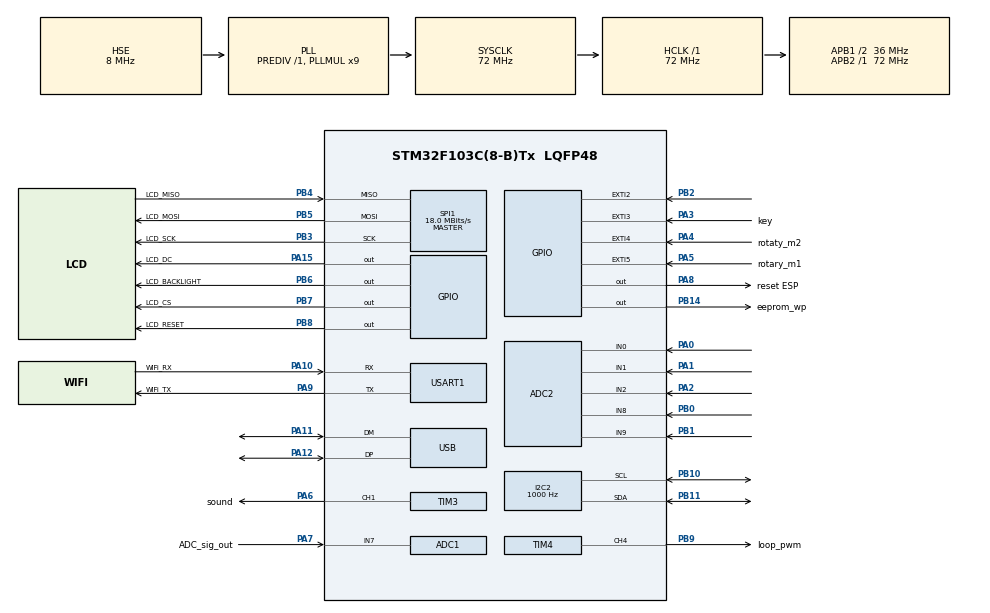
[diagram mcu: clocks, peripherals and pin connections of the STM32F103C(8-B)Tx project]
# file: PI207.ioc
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ADC1.Channel-0\#ChannelRegularConversion=ADC_CHANNEL_7
ADC1.ContinuousConvMode=DISABLE
ADC1.ExternalTrigConv=ADC_EXTERNALTRIGCONV_T1_CC1
ADC1.Mode=__NULL
ADC1.NbrOfConversion=1
ADC1.NbrOfConversionFlag=1
ADC1.Rank-0\#ChannelRegularConversion=1
ADC1.SamplingTime-0\#ChannelRegularConversion=ADC_SAMPLETIME_239CYCLES_5
ADC1.master=1
ADC2.Channel-0\#ChannelRegularConversion=ADC_CHANNEL_0
ADC2.Channel-1\#ChannelRegularConversion=ADC_CHANNEL_1
ADC2.Channel-2\#ChannelRegularConversion=ADC_CHANNEL_2
ADC2.Channel-3\#ChannelRegularConversion=ADC_CHANNEL_8
ADC2.Channel-4\#ChannelRegularConversion=ADC_CHANNEL_9
ADC2.ContinuousConvMode=ENABLE
ADC2.NbrOfConversion=5
ADC2.NbrOfConversionFlag=1
ADC2.Rank-0\#ChannelRegularConversion=1
ADC2.Rank-1\#ChannelRegularConversion=2
ADC2.Rank-2\#ChannelRegularConversion=3
ADC2.Rank-3\#ChannelRegularConversion=4
ADC2.Rank-4\#ChannelRegularConversion=5
ADC2.SamplingTime-0\#ChannelRegularConversion=ADC_SAMPLETIME_239CYCLES_5
ADC2.SamplingTime-1\#ChannelRegularConversion=ADC_SAMPLETIME_239CYCLES_5
ADC2.SamplingTime-2\#ChannelRegularConversion=ADC_SAMPLETIME_239CYCLES_5
ADC2.SamplingTime-3\#ChannelRegularConversion=ADC_SAMPLETIME_239CYCLES_5
ADC2.SamplingTime-4\#ChannelRegularConversion=ADC_SAMPLETIME_239CYCLES_5
Dma.ADC1.0.Direction=DMA_PERIPH_TO_MEMORY
Dma.ADC1.0.Instance=DMA1_Channel1
Dma.ADC1.0.MemDataAlignment=DMA_MDATAALIGN_WORD
Dma.ADC1.0.MemInc=DMA_MINC_ENABLE
Dma.ADC1.0.Mode=DMA_CIRCULAR
Dma.ADC1.0.PeriphDataAlignment=DMA_PDATAALIGN_WORD
Dma.ADC1.0.PeriphInc=DMA_PINC_DISABLE
Dma.ADC1.0.Priority=DMA_PRIORITY_HIGH
Dma.Request0=ADC1
I2C2.ClockSpeed=1000
IWDG.Prescaler=IWDG_PRESCALER_32
Mcu.Family=STM32F1
Mcu.Name=STM32F103C(8-B)Tx
Mcu.Package=LQFP48
NVIC.DMA1_Channel1_IRQn=true\:2\:0\:true\:false\:true\:false\:true
NVIC.EXTI2_IRQn=true\:3\:0\:true\:false\:true\:true\:true
NVIC.EXTI3_IRQn=true\:3\:0\:true\:false\:true\:true\:true
NVIC.EXTI4_IRQn=true\:3\:0\:true\:false\:true\:true\:true
NVIC.EXTI9_5_IRQn=true\:3\:0\:true\:false\:true\:true\:true
NVIC.PriorityGroup=NVIC_PRIORITYGROUP_4
NVIC.TIM1_UP_IRQn=true\:1\:0\:true\:false\:true\:true\:true
NVIC.TIM2_IRQn=true\:4\:0\:true\:false\:true\:true\:true
NVIC.TIM4_IRQn=true\:1\:0\:true\:false\:true\:true\:true
NVIC.USART1_IRQn=true\:5\:0\:true\:false\:true\:true\:true
PA0-WKUP.Signal=ADCx_IN0
PA1.Signal=ADCx_IN1
PA10.GPIO_Label=WiFi_RX
PA10.Mode=Asynchronous
PA10.Signal=USART1_RX
PA11.Mode=Device
PA11.Signal=USB_DM
PA12.Mode=Device
PA12.Signal=USB_DP
PA13.Mode=Serial_Wire
PA13.Signal=SYS_JTMS-SWDIO
PA14.Mode=Serial_Wire
PA14.Signal=SYS_JTCK-SWCLK
PA15.GPIO_Label=LCD_DC
PA15.Signal=GPIO_Output
PA2.Signal=ADCx_IN2
PA3.GPIO_Label=key
PA3.GPIO_ModeDefaultEXTI=GPIO_MODE_IT_FALLING
PA3.Signal=GPXTI3
PA4.GPIO_Label=rotaty_m2
PA4.GPIO_ModeDefaultEXTI=GPIO_MODE_IT_FALLING
PA4.Signal=GPXTI4
PA5.GPIO_Label=rotary_m1
PA5.GPIO_ModeDefaultEXTI=GPIO_MODE_IT_FALLING
PA5.Signal=GPXTI5
PA6.GPIO_Label=sound
PA6.Signal=S_TIM3_CH1
PA7.GPIO_Label=ADC_sig_out
PA7.Signal=ADCx_IN7
PA8.GPIO_Label=reset ESP
PA8.Signal=GPIO_Output
PA9.GPIO_Label=WiFi_TX
PA9.Mode=Asynchronous
PA9.Signal=USART1_TX
PB0.Signal=ADCx_IN8
PB1.Signal=ADCx_IN9
PB10.Mode=I2C
PB10.Signal=I2C2_SCL
PB11.Mode=I2C
PB11.Signal=I2C2_SDA
PB14.GPIO_Label=eeprom_wp
PB14.Signal=GPIO_Output
PB2.GPIO_ModeDefaultEXTI=GPIO_MODE_IT_FALLING
PB2.Signal=GPXTI2
PB3.GPIO_Label=LCD_SCK
PB3.Mode=Full_Duplex_Master
PB3.Signal=SPI1_SCK
PB4.GPIO_Label=LCD_MISO
PB4.Mode=Full_Duplex_Master
PB4.Signal=SPI1_MISO
PB5.GPIO_Label=LCD_MOSI
PB5.Mode=Full_Duplex_Master
PB5.Signal=SPI1_MOSI
PB6.GPIO_Label=LCD_BACKLIGHT
PB6.Signal=GPIO_Output
PB7.GPIO_Label=LCD_CS
PB7.GPIO_ModeDefaultOutputPP=GPIO_MODE_OUTPUT_OD
PB7.GPIO_PuPd=GPIO_PULLUP
PB7.PinState=GPIO_PIN_SET
PB7.Signal=GPIO_Output
PB8.GPIO_Label=LCD_RESET
PB8.Signal=GPIO_Output
PB9.GPIO_Label=loop_pwm
PB9.Signal=S_TIM4_CH4
PD0-OSC_IN.Mode=HSE-External-Oscillator
PD0-OSC_IN.Signal=RCC_OSC_IN
PD1-OSC_OUT.Mode=HSE-External-Oscillator
PD1-OSC_OUT.Signal=RCC_OSC_OUT
ProjectManager.HeapSize=0x200
ProjectManager.StackSize=0x400
ProjectManager.TargetToolchain=MDK-ARM V5.32
RCC.ADCPresc=RCC_ADCPCLK2_DIV6
RCC.AHBFreq_Value=72000000
RCC.APB1CLKDivider=RCC_HCLK_DIV2
RCC.APB1Freq_Value=36000000
RCC.APB1TimFreq_Value=72000000
RCC.APB2Freq_Value=72000000
RCC.APB2TimFreq_Value=72000000
RCC.HCLKFreq_Value=72000000
RCC.PLLMUL=RCC_PLL_MUL9
RCC.SYSCLKFreq_VALUE=72000000
RCC.SYSCLKSource=RCC_SYSCLKSOURCE_PLLCLK
RCC.USBFreq_Value=48000000
RCC.USBPrescaler=RCC_USBCLKSOURCE_PLL_DIV1_5
SH.ADCx_IN0.0=ADC1_IN0
SH.ADCx_IN0.1=ADC2_IN0,IN0
SH.ADCx_IN1.0=ADC1_IN1
SH.ADCx_IN1.1=ADC2_IN1,IN1
SH.ADCx_IN2.0=ADC1_IN2
SH.ADCx_IN2.1=ADC2_IN2,IN2
SH.ADCx_IN7.0=ADC2_IN7
SH.ADCx_IN7.1=ADC1_IN7,IN7
SH.ADCx_IN8.0=ADC1_IN8
SH.ADCx_IN8.1=ADC2_IN8,IN8
SH.ADCx_IN9.0=ADC1_IN9
SH.ADCx_IN9.1=ADC2_IN9,IN9
SH.S_TIM3_CH1.0=TIM3_CH1,PWM Generation1 CH1
SH.S_TIM4_CH4.0=TIM4_CH4,PWM Generation4 CH4
SPI1.BaudRatePrescaler=SPI_BAUDRATEPRESCALER_4
SPI1.CalculateBaudRate=18.0 MBits/s
SPI1.Direction=SPI_DIRECTION_2LINES
SPI1.Mode=SPI_MODE_MASTER
SPI1.VirtualType=VM_MASTER
TIM1.Channel-PWM\ Generation1\ No\ Output=TIM_CHANNEL_1
TIM1.Period=10000
TIM1.Prescaler=72-1
TIM1.Pulse-PWM\ Generation1\ No\ Output=5000
TIM1.TIM_MasterOutputTrigger=TIM_TRGO_RESET
TIM3.Channel-PWM\ Generation1\ CH1=TIM_CHANNEL_1
TIM3.Period=10000
TIM3.Prescaler=10000
TIM4.Channel-PWM\ Generation4\ CH4=TIM_CHANNEL_4
TIM4.Period=310
TIM4.Prescaler=1000
TIM4.Pulse-PWM\ Generation4\ CH4=30
USART1.VirtualMode=VM_ASYNC
VP_IWDG_VS_IWDG.Mode=IWDG_Activate
VP_TIM1_VS_ClockSourceINT.Mode=Internal
VP_TIM1_VS_no_output1.Mode=PWM Generation1 No Output
VP_TIM2_VS_ClockSourceINT.Mode=Internal
VP_TIM3_VS_ClockSourceINT.Mode=Internal
board=custom

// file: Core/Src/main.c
/* USER CODE BEGIN Header */
/**
  ******************************************************************************
  * @file           : main.c
  * @brief          : Main program body
  ******************************************************************************
  * @attention
  *
  * <h2><center>&copy; Copyright (c) 2022 STMicroelectronics.
  * All rights reserved.</center></h2>
  *
  * This software component is licensed by ST under Ultimate Liberty license
  * SLA0044, the "License"; You may not use this file except in compliance with
  * the License. You may obtain a copy of the License at:
  *                             www.st.com/SLA0044
  *
  ******************************************************************************
  */
/* USER CODE END Header */
#include "main.h"

/* USER CODE BEGIN Includes */
#include "ili9341.h"
#include "MyStruct.h"
#include "stdio.h"
#include "string.h"
/* USER CODE END Includes */

/* USER CODE BEGIN PTD */

#define		sampling_number			1000
#define		LCD_WIDTH				320

int16_t Counter;
uint16_t ADC_sampling_step;
uint32_t ADC_read[sampling_number], display[LCD_WIDTH];
uint16_t ADC_trigger = 2500;
uint16_t scaling_factor = 10;
typedef enum
{
		not_ready
	,	ready
}STATUS;

STATUS data_status;
STATUS dma_status;

uint16_t lcd_offset = 100,	lcd_voltdiv = 12;

/* USER CODE END PTD */

ADC_HandleTypeDef hadc1;
ADC_HandleTypeDef hadc2;
DMA_HandleTypeDef hdma_adc1;

I2C_HandleTypeDef hi2c2;

IWDG_HandleTypeDef hiwdg;

SPI_HandleTypeDef hspi1;

TIM_HandleTypeDef htim1;
TIM_HandleTypeDef htim2;
TIM_HandleTypeDef htim3;
TIM_HandleTypeDef htim4;

UART_HandleTypeDef huart1;

PCD_HandleTypeDef hpcd_USB_FS;

void SystemClock_Config(void);
static void MX_GPIO_Init(void);
static void MX_ADC1_Init(void);
static void MX_ADC2_Init(void);
static void MX_I2C2_Init(void);
static void MX_SPI1_Init(void);
static void MX_TIM4_Init(void);
static void MX_USART1_UART_Init(void);
static void MX_DMA_Init(void);
static void MX_USB_PCD_Init(void);
static void MX_IWDG_Init(void);
static void MX_TIM3_Init(void);
static void MX_TIM1_Init(void);
static void MX_TIM2_Init(void);

int main(void)
{
  /* USER CODE BEGIN 1 */
 char W[40];
  /* USER CODE END 1 */

  /* MCU Configuration--------------------------------------------------------*/

  /* Reset of all peripherals, Initializes the Flash interface and the Systick. */
  HAL_Init();

  /* Configure the system clock */
  SystemClock_Config();

  /* Initialize all configured peripherals */
  MX_GPIO_Init();
  MX_DMA_Init();
  MX_ADC1_Init();
  MX_ADC2_Init();
  MX_I2C2_Init();
  MX_SPI1_Init();
  MX_TIM4_Init();
  MX_USART1_UART_Init();

//  MX_USB_PCD_Init();
//  MX_IWDG_Init();
  MX_TIM3_Init();
  MX_TIM1_Init();
  MX_TIM2_Init();
  /* USER CODE BEGIN 2 */
	// HAL_ADCEx_Calibration_Start(&hadc1);
	// HAL_ADCEx_Calibration_Start(&hadc2);

	HAL_ADC_Start_DMA(&hadc1, ADC_read, sampling_number);		// start ADC DMA in circular mode
	HAL_TIM_PWM_Start(&htim1, TIM_CHANNEL_1);	// start ADC's timer

  	ILI9341_Init();
	HAL_TIM_PWM_Start(&htim3,TIM_CHANNEL_1);
	HAL_GPIO_WritePin(LCD_BACKLIGHT_GPIO_Port,LCD_BACKLIGHT_Pin,GPIO_PIN_SET);
	ILI9341_FillScreen(ILI9341_BLACK);

  	HAL_TIM_PWM_Stop(&htim3,TIM_CHANNEL_1);

	HAL_TIM_PWM_Start(&htim4,TIM_CHANNEL_4);		// loop pwm
  /* USER CODE END 2 */

  /* Infinite loop */
  while (1)
  {

    /* USER CODE BEGIN 3 */
		// __HAL_IWDG_RELOAD_COUNTER(&hiwdg);

	if(data_status == ready)
  	{
		ILI9341_FillScreen(ILI9341_BLACK);

		for(int x = 0; x < 320; x++)
		{
			if(display[x] > lcd_offset)
				display[x]=(display[x]-lcd_offset)/lcd_voltdiv;
			else
				display[x] = 0;
		}
		for(int x = 0; x < 320; x++)
		{
			for(int y = 0; y < 320; y++)
			{
				if(y<(240-display[x])||  y>(242-display[x]))
					ILI9341_DrawPixel(x, y, ILI9341_BLACK );
				else
					ILI9341_DrawPixel(x, y, ILI9341_RED);
		 	}
		}

		data_status = not_ready;
		HAL_TIM_PWM_Start(&htim1, TIM_CHANNEL_1);	// start ADC's timer

	}
	else
	{
		// //  HAL_ADC_Start_DMA(&hadc1, ADC_read, LCD_WIDTH);		// start ADC DMA in circular mode
		// if(HAL_ADC_GetValue(&hadc1) < ADC_trigger)
		// {
		// 	HAL_ADC_Start_DMA(&hadc1, ADC_read, LCD_WIDTH);		// start ADC DMA in circular mode
		// 	dma_status = ready;
		// }
	}

  }
  /* USER CODE END 3 */
}

void SystemClock_Config(void)
{
  RCC_OscInitTypeDef RCC_OscInitStruct = {0};
  RCC_ClkInitTypeDef RCC_ClkInitStruct = {0};
  RCC_PeriphCLKInitTypeDef PeriphClkInit = {0};

  /** Initializes the RCC Oscillators according to the specified parameters
  * in the RCC_OscInitTypeDef structure.
  */
  RCC_OscInitStruct.OscillatorType = RCC_OSCILLATORTYPE_LSI|RCC_OSCILLATORTYPE_HSE;
  RCC_OscInitStruct.HSEState = RCC_HSE_ON;
  RCC_OscInitStruct.HSEPredivValue = RCC_HSE_PREDIV_DIV1;
  RCC_OscInitStruct.HSIState = RCC_HSI_ON;
  RCC_OscInitStruct.LSIState = RCC_LSI_ON;
  RCC_OscInitStruct.PLL.PLLState = RCC_PLL_ON;
  RCC_OscInitStruct.PLL.PLLSource = RCC_PLLSOURCE_HSE;
  RCC_OscInitStruct.PLL.PLLMUL = RCC_PLL_MUL9;
  if (HAL_RCC_OscConfig(&RCC_OscInitStruct) != HAL_OK)
  {
    Error_Handler();
  }
  /** Initializes the CPU, AHB and APB buses clocks
  */
  RCC_ClkInitStruct.ClockType = RCC_CLOCKTYPE_HCLK|RCC_CLOCKTYPE_SYSCLK
                              |RCC_CLOCKTYPE_PCLK1|RCC_CLOCKTYPE_PCLK2;
  RCC_ClkInitStruct.SYSCLKSource = RCC_SYSCLKSOURCE_PLLCLK;
  RCC_ClkInitStruct.AHBCLKDivider = RCC_SYSCLK_DIV1;
  RCC_ClkInitStruct.APB1CLKDivider = RCC_HCLK_DIV2;
  RCC_ClkInitStruct.APB2CLKDivider = RCC_HCLK_DIV1;

  if (HAL_RCC_ClockConfig(&RCC_ClkInitStruct, FLASH_LATENCY_2) != HAL_OK)
  {
    Error_Handler();
  }
  PeriphClkInit.PeriphClockSelection = RCC_PERIPHCLK_ADC|RCC_PERIPHCLK_USB;
  PeriphClkInit.AdcClockSelection = RCC_ADCPCLK2_DIV6;
  PeriphClkInit.UsbClockSelection = RCC_USBCLKSOURCE_PLL_DIV1_5;
  if (HAL_RCCEx_PeriphCLKConfig(&PeriphClkInit) != HAL_OK)
  {
    Error_Handler();
  }
}

static void MX_ADC1_Init(void)
{

  ADC_ChannelConfTypeDef sConfig = {0};

  /** Common config
  */
  hadc1.Instance = ADC1;
  hadc1.Init.ScanConvMode = ADC_SCAN_DISABLE;
  hadc1.Init.ContinuousConvMode = DISABLE;
  hadc1.Init.DiscontinuousConvMode = DISABLE;
  hadc1.Init.ExternalTrigConv = ADC_EXTERNALTRIGCONV_T1_CC1;
  hadc1.Init.DataAlign = ADC_DATAALIGN_RIGHT;
  hadc1.Init.NbrOfConversion = 1;
  if (HAL_ADC_Init(&hadc1) != HAL_OK)
  {
    Error_Handler();
  }
  /** Configure Regular Channel
  */
  sConfig.Channel = ADC_CHANNEL_7;
  sConfig.Rank = ADC_REGULAR_RANK_1;
  sConfig.SamplingTime = ADC_SAMPLETIME_1CYCLE_5;
  if (HAL_ADC_ConfigChannel(&hadc1, &sConfig) != HAL_OK)
  {
    Error_Handler();
  }

}

static void MX_ADC2_Init(void)
{

  ADC_ChannelConfTypeDef sConfig = {0};

  /** Common config
  */
  hadc2.Instance = ADC2;
  hadc2.Init.ScanConvMode = ADC_SCAN_ENABLE;
  hadc2.Init.ContinuousConvMode = ENABLE;
  hadc2.Init.DiscontinuousConvMode = DISABLE;
  hadc2.Init.ExternalTrigConv = ADC_SOFTWARE_START;
  hadc2.Init.DataAlign = ADC_DATAALIGN_RIGHT;
  hadc2.Init.NbrOfConversion = 5;
  if (HAL_ADC_Init(&hadc2) != HAL_OK)
  {
    Error_Handler();
  }
  /** Configure Regular Channel
  */
  sConfig.Channel = ADC_CHANNEL_0;
  sConfig.Rank = ADC_REGULAR_RANK_1;
  sConfig.SamplingTime = ADC_SAMPLETIME_239CYCLES_5;
  if (HAL_ADC_ConfigChannel(&hadc2, &sConfig) != HAL_OK)
  {
    Error_Handler();
  }
  /** Configure Regular Channel
  */
  sConfig.Channel = ADC_CHANNEL_1;
  sConfig.Rank = ADC_REGULAR_RANK_2;
  if (HAL_ADC_ConfigChannel(&hadc2, &sConfig) != HAL_OK)
  {
    Error_Handler();
  }
  /** Configure Regular Channel
  */
  sConfig.Channel = ADC_CHANNEL_2;
  sConfig.Rank = ADC_REGULAR_RANK_3;
  if (HAL_ADC_ConfigChannel(&hadc2, &sConfig) != HAL_OK)
  {
    Error_Handler();
  }
  /** Configure Regular Channel
  */
  sConfig.Channel = ADC_CHANNEL_8;
  sConfig.Rank = ADC_REGULAR_RANK_4;
  if (HAL_ADC_ConfigChannel(&hadc2, &sConfig) != HAL_OK)
  {
    Error_Handler();
  }
  /** Configure Regular Channel
  */
  sConfig.Channel = ADC_CHANNEL_9;
  sConfig.Rank = ADC_REGULAR_RANK_5;
  if (HAL_ADC_ConfigChannel(&hadc2, &sConfig) != HAL_OK)
  {
    Error_Handler();
  }

}

static void MX_I2C2_Init(void)
{

  hi2c2.Instance = I2C2;
  hi2c2.Init.ClockSpeed = 1000;
  hi2c2.Init.DutyCycle = I2C_DUTYCYCLE_2;
  hi2c2.Init.OwnAddress1 = 0;
  hi2c2.Init.AddressingMode = I2C_ADDRESSINGMODE_7BIT;
  hi2c2.Init.DualAddressMode = I2C_DUALADDRESS_DISABLE;
  hi2c2.Init.OwnAddress2 = 0;
  hi2c2.Init.GeneralCallMode = I2C_GENERALCALL_DISABLE;
  hi2c2.Init.NoStretchMode = I2C_NOSTRETCH_DISABLE;
  if (HAL_I2C_Init(&hi2c2) != HAL_OK)
  {
    Error_Handler();
  }

}

static void MX_IWDG_Init(void)
{

  hiwdg.Instance = IWDG;
  hiwdg.Init.Prescaler = IWDG_PRESCALER_32;
  hiwdg.Init.Reload = 4095;
  if (HAL_IWDG_Init(&hiwdg) != HAL_OK)
  {
    Error_Handler();
  }

}

static void MX_SPI1_Init(void)
{

  /* SPI1 parameter configuration*/
  hspi1.Instance = SPI1;
  hspi1.Init.Mode = SPI_MODE_MASTER;
  hspi1.Init.Direction = SPI_DIRECTION_2LINES;
  hspi1.Init.DataSize = SPI_DATASIZE_8BIT;
  hspi1.Init.CLKPolarity = SPI_POLARITY_LOW;
  hspi1.Init.CLKPhase = SPI_PHASE_1EDGE;
  hspi1.Init.NSS = SPI_NSS_SOFT;
  hspi1.Init.BaudRatePrescaler = SPI_BAUDRATEPRESCALER_4;
  hspi1.Init.FirstBit = SPI_FIRSTBIT_MSB;
  hspi1.Init.TIMode = SPI_TIMODE_DISABLE;
  hspi1.Init.CRCCalculation = SPI_CRCCALCULATION_DISABLE;
  hspi1.Init.CRCPolynomial = 10;
  if (HAL_SPI_Init(&hspi1) != HAL_OK)
  {
    Error_Handler();
  }

}

static void MX_TIM1_Init(void)
{

  TIM_ClockConfigTypeDef sClockSourceConfig = {0};
  TIM_MasterConfigTypeDef sMasterConfig = {0};
  TIM_OC_InitTypeDef sConfigOC = {0};
  TIM_BreakDeadTimeConfigTypeDef sBreakDeadTimeConfig = {0};

  htim1.Instance = TIM1;
  htim1.Init.Prescaler = 7-1;
  htim1.Init.CounterMode = TIM_COUNTERMODE_UP;
  htim1.Init.Period = 1000/scaling_factor;
  htim1.Init.ClockDivision = TIM_CLOCKDIVISION_DIV1;
  htim1.Init.RepetitionCounter = 0;
  htim1.Init.AutoReloadPreload = TIM_AUTORELOAD_PRELOAD_DISABLE;
  if (HAL_TIM_Base_Init(&htim1) != HAL_OK)
  {
    Error_Handler();
  }
  sClockSourceConfig.ClockSource = TIM_CLOCKSOURCE_INTERNAL;
  if (HAL_TIM_ConfigClockSource(&htim1, &sClockSourceConfig) != HAL_OK)
  {
    Error_Handler();
  }
  if (HAL_TIM_PWM_Init(&htim1) != HAL_OK)
  {
    Error_Handler();
  }
  sMasterConfig.MasterOutputTrigger = TIM_TRGO_RESET;
  sMasterConfig.MasterSlaveMode = TIM_MASTERSLAVEMODE_DISABLE;
  if (HAL_TIMEx_MasterConfigSynchronization(&htim1, &sMasterConfig) != HAL_OK)
  {
    Error_Handler();
  }
  sConfigOC.OCMode = TIM_OCMODE_PWM1;
  sConfigOC.Pulse = 500/scaling_factor	;
  sConfigOC.OCPolarity = TIM_OCPOLARITY_HIGH;
  sConfigOC.OCNPolarity = TIM_OCNPOLARITY_HIGH;
  sConfigOC.OCFastMode = TIM_OCFAST_DISABLE;
  sConfigOC.OCIdleState = TIM_OCIDLESTATE_RESET;
  sConfigOC.OCNIdleState = TIM_OCNIDLESTATE_RESET;
  if (HAL_TIM_PWM_ConfigChannel(&htim1, &sConfigOC, TIM_CHANNEL_1) != HAL_OK)
  {
    Error_Handler();
  }
  sBreakDeadTimeConfig.OffStateRunMode = TIM_OSSR_DISABLE;
  sBreakDeadTimeConfig.OffStateIDLEMode = TIM_OSSI_DISABLE;
  sBreakDeadTimeConfig.LockLevel = TIM_LOCKLEVEL_OFF;
  sBreakDeadTimeConfig.DeadTime = 0;
  sBreakDeadTimeConfig.BreakState = TIM_BREAK_DISABLE;
  sBreakDeadTimeConfig.BreakPolarity = TIM_BREAKPOLARITY_HIGH;
  sBreakDeadTimeConfig.AutomaticOutput = TIM_AUTOMATICOUTPUT_DISABLE;
  if (HAL_TIMEx_ConfigBreakDeadTime(&htim1, &sBreakDeadTimeConfig) != HAL_OK)
  {
    Error_Handler();
  }

}

static void MX_TIM2_Init(void)
{

  TIM_ClockConfigTypeDef sClockSourceConfig = {0};
  TIM_MasterConfigTypeDef sMasterConfig = {0};

  htim2.Instance = TIM2;
  htim2.Init.Prescaler = 0;
  htim2.Init.CounterMode = TIM_COUNTERMODE_UP;
  htim2.Init.Period = 65535;
  htim2.Init.ClockDivision = TIM_CLOCKDIVISION_DIV1;
  htim2.Init.AutoReloadPreload = TIM_AUTORELOAD_PRELOAD_DISABLE;
  if (HAL_TIM_Base_Init(&htim2) != HAL_OK)
  {
    Error_Handler();
  }
  sClockSourceConfig.ClockSource = TIM_CLOCKSOURCE_INTERNAL;
  if (HAL_TIM_ConfigClockSource(&htim2, &sClockSourceConfig) != HAL_OK)
  {
    Error_Handler();
  }
  sMasterConfig.MasterOutputTrigger = TIM_TRGO_RESET;
  sMasterConfig.MasterSlaveMode = TIM_MASTERSLAVEMODE_DISABLE;
  if (HAL_TIMEx_MasterConfigSynchronization(&htim2, &sMasterConfig) != HAL_OK)
  {
    Error_Handler();
  }

}

static void MX_TIM3_Init(void)
{

  TIM_ClockConfigTypeDef sClockSourceConfig = {0};
  TIM_MasterConfigTypeDef sMasterConfig = {0};
  TIM_OC_InitTypeDef sConfigOC = {0};

  htim3.Instance = TIM3;
  htim3.Init.Prescaler = 10000;
  htim3.Init.CounterMode = TIM_COUNTERMODE_UP;
  htim3.Init.Period = 10000;
  htim3.Init.ClockDivision = TIM_CLOCKDIVISION_DIV1;
  htim3.Init.AutoReloadPreload = TIM_AUTORELOAD_PRELOAD_DISABLE;
  if (HAL_TIM_Base_Init(&htim3) != HAL_OK)
  {
    Error_Handler();
  }
  sClockSourceConfig.ClockSource = TIM_CLOCKSOURCE_INTERNAL;
  if (HAL_TIM_ConfigClockSource(&htim3, &sClockSourceConfig) != HAL_OK)
  {
    Error_Handler();
  }
  if (HAL_TIM_PWM_Init(&htim3) != HAL_OK)
  {
    Error_Handler();
  }
  sMasterConfig.MasterOutputTrigger = TIM_TRGO_RESET;
  sMasterConfig.MasterSlaveMode = TIM_MASTERSLAVEMODE_DISABLE;
  if (HAL_TIMEx_MasterConfigSynchronization(&htim3, &sMasterConfig) != HAL_OK)
  {
    Error_Handler();
  }
  sConfigOC.OCMode = TIM_OCMODE_PWM1;
  sConfigOC.Pulse = 50;
  sConfigOC.OCPolarity = TIM_OCPOLARITY_HIGH;
  sConfigOC.OCFastMode = TIM_OCFAST_DISABLE;
  if (HAL_TIM_PWM_ConfigChannel(&htim3, &sConfigOC, TIM_CHANNEL_1) != HAL_OK)
  {
    Error_Handler();
  }
  HAL_TIM_MspPostInit(&htim3);

}

static void MX_TIM4_Init(void)
{

  TIM_MasterConfigTypeDef sMasterConfig = {0};
  TIM_OC_InitTypeDef sConfigOC = {0};

  htim4.Instance = TIM4;
  htim4.Init.Prescaler = 1000;
  htim4.Init.CounterMode = TIM_COUNTERMODE_UP;
  htim4.Init.Period = 286;
  htim4.Init.ClockDivision = TIM_CLOCKDIVISION_DIV1;
  htim4.Init.AutoReloadPreload = TIM_AUTORELOAD_PRELOAD_DISABLE;
  if (HAL_TIM_PWM_Init(&htim4) != HAL_OK)
  {
    Error_Handler();
  }
  sMasterConfig.MasterOutputTrigger = TIM_TRGO_RESET;
  sMasterConfig.MasterSlaveMode = TIM_MASTERSLAVEMODE_DISABLE;
  if (HAL_TIMEx_MasterConfigSynchronization(&htim4, &sMasterConfig) != HAL_OK)
  {
    Error_Handler();
  }
  sConfigOC.OCMode = TIM_OCMODE_PWM1;
  sConfigOC.Pulse = 28;
  sConfigOC.OCPolarity = TIM_OCPOLARITY_HIGH;
  sConfigOC.OCFastMode = TIM_OCFAST_DISABLE;
  if (HAL_TIM_PWM_ConfigChannel(&htim4, &sConfigOC, TIM_CHANNEL_4) != HAL_OK)
  {
    Error_Handler();
  }
  HAL_TIM_MspPostInit(&htim4);

}

static void MX_USART1_UART_Init(void)
{

  huart1.Instance = USART1;
  huart1.Init.BaudRate = 115200;
  huart1.Init.WordLength = UART_WORDLENGTH_8B;
  huart1.Init.StopBits = UART_STOPBITS_1;
  huart1.Init.Parity = UART_PARITY_NONE;
  huart1.Init.Mode = UART_MODE_TX_RX;
  huart1.Init.HwFlowCtl = UART_HWCONTROL_NONE;
  huart1.Init.OverSampling = UART_OVERSAMPLING_16;
  if (HAL_UART_Init(&huart1) != HAL_OK)
  {
    Error_Handler();
  }

}

static void MX_USB_PCD_Init(void)
{

  hpcd_USB_FS.Instance = USB;
  hpcd_USB_FS.Init.dev_endpoints = 8;
  hpcd_USB_FS.Init.speed = PCD_SPEED_FULL;
  hpcd_USB_FS.Init.low_power_enable = DISABLE;
  hpcd_USB_FS.Init.lpm_enable = DISABLE;
  hpcd_USB_FS.Init.battery_charging_enable = DISABLE;
  if (HAL_PCD_Init(&hpcd_USB_FS) != HAL_OK)
  {
    Error_Handler();
  }

}

static void MX_DMA_Init(void)
{

  /* DMA controller clock enable */
  __HAL_RCC_DMA1_CLK_ENABLE();

  /* DMA interrupt init */
  /* DMA1_Channel1_IRQn interrupt configuration */
  HAL_NVIC_SetPriority(DMA1_Channel1_IRQn, 2, 0);
  HAL_NVIC_EnableIRQ(DMA1_Channel1_IRQn);

}

static void MX_GPIO_Init(void)
{
  GPIO_InitTypeDef GPIO_InitStruct = {0};

  /* GPIO Ports Clock Enable */
  __HAL_RCC_GPIOD_CLK_ENABLE();
  __HAL_RCC_GPIOA_CLK_ENABLE();
  __HAL_RCC_GPIOB_CLK_ENABLE();

  /*Configure GPIO pin Output Level */
  HAL_GPIO_WritePin(GPIOB, eeprom_wp_Pin|LCD_BACKLIGHT_Pin|LCD_RESET_Pin, GPIO_PIN_RESET);

  /*Configure GPIO pin Output Level */
  HAL_GPIO_WritePin(GPIOA, reset_ESP_Pin|LCD_DC_Pin, GPIO_PIN_RESET);

  /*Configure GPIO pin Output Level */
  HAL_GPIO_WritePin(LCD_CS_GPIO_Port, LCD_CS_Pin, GPIO_PIN_SET);

  /*Configure GPIO pins : key_Pin rotaty_m2_Pin rotary_m1_Pin */
  GPIO_InitStruct.Pin = key_Pin|rotaty_m2_Pin|rotary_m1_Pin;
  GPIO_InitStruct.Mode = GPIO_MODE_IT_FALLING;
  GPIO_InitStruct.Pull = GPIO_NOPULL;
  HAL_GPIO_Init(GPIOA, &GPIO_InitStruct);

  /*Configure GPIO pin : PB2 */
  GPIO_InitStruct.Pin = GPIO_PIN_2;
  GPIO_InitStruct.Mode = GPIO_MODE_IT_FALLING;
  GPIO_InitStruct.Pull = GPIO_NOPULL;
  HAL_GPIO_Init(GPIOB, &GPIO_InitStruct);

  /*Configure GPIO pins : eeprom_wp_Pin LCD_BACKLIGHT_Pin LCD_RESET_Pin */
  GPIO_InitStruct.Pin = eeprom_wp_Pin|LCD_BACKLIGHT_Pin|LCD_RESET_Pin;
  GPIO_InitStruct.Mode = GPIO_MODE_OUTPUT_PP;
  GPIO_InitStruct.Pull = GPIO_NOPULL;
  GPIO_InitStruct.Speed = GPIO_SPEED_FREQ_LOW;
  HAL_GPIO_Init(GPIOB, &GPIO_InitStruct);

  /*Configure GPIO pins : reset_ESP_Pin LCD_DC_Pin */
  GPIO_InitStruct.Pin = reset_ESP_Pin|LCD_DC_Pin;
  GPIO_InitStruct.Mode = GPIO_MODE_OUTPUT_PP;
  GPIO_InitStruct.Pull = GPIO_NOPULL;
  GPIO_InitStruct.Speed = GPIO_SPEED_FREQ_LOW;
  HAL_GPIO_Init(GPIOA, &GPIO_InitStruct);

  /*Configure GPIO pin : LCD_CS_Pin */
  GPIO_InitStruct.Pin = LCD_CS_Pin;
  GPIO_InitStruct.Mode = GPIO_MODE_OUTPUT_OD;
  GPIO_InitStruct.Pull = GPIO_PULLUP;
  GPIO_InitStruct.Speed = GPIO_SPEED_FREQ_LOW;
  HAL_GPIO_Init(LCD_CS_GPIO_Port, &GPIO_InitStruct);

  /* EXTI interrupt init*/
  HAL_NVIC_SetPriority(EXTI2_IRQn, 3, 0);
  HAL_NVIC_EnableIRQ(EXTI2_IRQn);

  HAL_NVIC_SetPriority(EXTI3_IRQn, 3, 0);
  HAL_NVIC_EnableIRQ(EXTI3_IRQn);

  HAL_NVIC_SetPriority(EXTI4_IRQn, 3, 0);
  HAL_NVIC_EnableIRQ(EXTI4_IRQn);

  HAL_NVIC_SetPriority(EXTI9_5_IRQn, 3, 0);
  HAL_NVIC_EnableIRQ(EXTI9_5_IRQn);

}

/* USER CODE BEGIN 4 */

void HAL_ADC_ConvCpltCallback(ADC_HandleTypeDef* hadc)
{
	// uint32_t boundary_value = 0; // stores 10% of final value as boundary to perform a comparison

	if(hadc->Instance != ADC1)
		return;

	// for(uint8_t i = 0; i < sampling_number; i++)
	// 	ADC_final += ADC_read[i];

	// ADC_final /= sampling_number;

	// if(ADC_sampling_step == 0)
	// 	if(ADC_final < ADC_trigger)
	// 		return;

	// ADC_final = (ADC_final - 1000) / 12;

	// buffer_signal[ADC_sampling_step] = ADC_final; // move to main buffer
	// ADC_final = 0;

	// ADC_sampling_step++;

	// if(ADC_sampling_step >= LCD_WIDTH)
	// {
		// ADC_sampling_step = 0;
	static uint16_t index = 0;
	HAL_TIM_PWM_Stop(&htim1, TIM_CHANNEL_1);	// stop ADC's timer

	while(index < sampling_number)
	{
		if(ADC_read[index] < ADC_trigger)
			if(ADC_read[index+1] < ADC_trigger)
				if(ADC_read[index+2] < ADC_trigger)
					if(ADC_read[index+3] < ADC_trigger)
						if(sampling_number - index > LCD_WIDTH)
							break;
		index++;
	}
	if(index < sampling_number)
	{
		memcpy(display, ADC_read+index, sizeof(display));
		data_status = ready;
	}
	else
		HAL_TIM_PWM_Start(&htim1, TIM_CHANNEL_1);	// start ADC's timer
	index = 0;

	// }
}

/* USER CODE END 4 */

void Error_Handler(void)
{
  __disable_irq();
  while (1)
  {
  }
}
